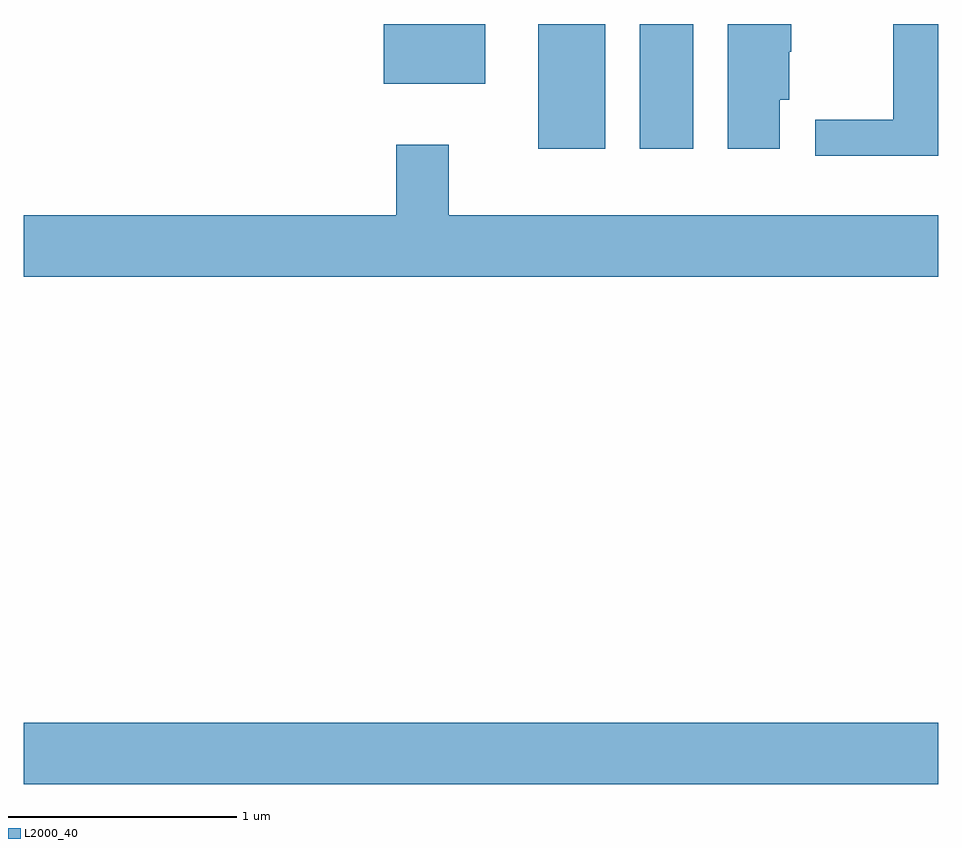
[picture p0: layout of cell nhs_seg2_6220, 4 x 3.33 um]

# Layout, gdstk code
import gdstk
lib = gdstk.Library(unit=1e-6, precision=1e-09)
def R(c, l, rs):  # rectangles x0, y0, x1, y1
    for r in rs: c.add(gdstk.rectangle(r[:2], r[2:], *l))
def P(c, l, *ps):  # polygons
    for p in ps: c.add(gdstk.Polygon(p, *l))
L2000_40 = (2000, 40)

nhs_seg2_6220 = lib.new_cell('nhs_seg2_6220')
R(nhs_seg2_6220, L2000_40, [(367.611,1110.476,371.611,1110.744), (369.861,1113.256,370.154,1113.802), (370.306,1113.256,370.539,1113.802), (369.186,1113.541,369.629,1113.802)])
P(nhs_seg2_6220, L2000_40, [(370.919,1113.471),(370.959,1113.471),(370.959,1113.68),(370.969,1113.68),(370.969,1113.802),(370.691,1113.802),(370.691,1113.256),(370.919,1113.256)],
  [(371.611,1113.802),(371.416,1113.802),(371.416,1113.384),(371.073,1113.384),(371.073,1113.226),(371.611,1113.226)],
  [(371.611,1112.964),(369.469,1112.964),(369.469,1113.274),(369.241,1113.274),(369.241,1112.964),(367.611,1112.964),(367.611,1112.696),(371.611,1112.696)])

lib.write_gds('nhs_seg2_6220.gds')
